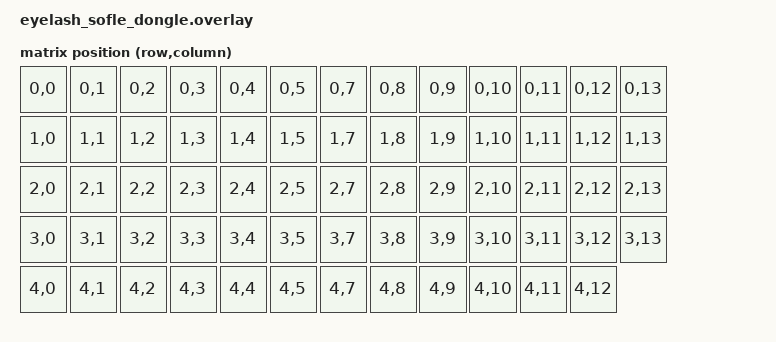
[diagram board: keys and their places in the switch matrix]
/*
 * Eyelash Sofle — USB dongle central, no display.
 * Target board: seeeduino_xiao_ble (Seeed Studio XIAO nRF52840).
 *
 * Deliberately does NOT include eyelash_sofle.dtsi: that file enables SPI0
 * (P0.17/P0.20/P0.25), SPI3 WS2812 (P1.12), PWM backlight (P1.13),
 * ext-power (P0.13) and a VDDH battery node — all nice!nano assumptions.
 * On the XIAO those pins collide with the on-board QSPI flash and the
 * board-level battery divider. The dongle only needs the matrix transform,
 * the physical layout and a mock kscan.
 */

#include <dt-bindings/zmk/matrix_transform.h>
#include "eyelash_sofle-layouts.dtsi"

/ {
    chosen {
        zmk,kscan = &mock_kscan;
        zmk,physical-layout = &eyelash_sofle_layout;
    };

    mock_kscan: kscan_mock {
        compatible = "zmk,kscan-mock";
        columns = <0>;
        rows = <0>;
        events = <0>;
    };

    default_transform: keymap_transform_0 {
        compatible = "zmk,matrix-transform";
        columns = <14>;
        rows = <5>;
        map = <
            RC(0,0) RC(0,1) RC(0,2) RC(0,3) RC(0,4) RC(0,5)  RC(0,7) RC(0,8) RC(0,9) RC(0,10) RC(0,11) RC(0,12) RC(0,13)
            RC(1,0) RC(1,1) RC(1,2) RC(1,3) RC(1,4) RC(1,5)  RC(1,7) RC(1,8) RC(1,9) RC(1,10) RC(1,11) RC(1,12) RC(1,13)
            RC(2,0) RC(2,1) RC(2,2) RC(2,3) RC(2,4) RC(2,5)  RC(2,7) RC(2,8) RC(2,9) RC(2,10) RC(2,11) RC(2,12) RC(2,13)
            RC(3,0) RC(3,1) RC(3,2) RC(3,3) RC(3,4) RC(3,5)  RC(3,7) RC(3,8) RC(3,9) RC(3,10) RC(3,11) RC(3,12) RC(3,13)
            RC(4,0) RC(4,1) RC(4,2) RC(4,3) RC(4,4) RC(4,5)  RC(4,7) RC(4,8) RC(4,9) RC(4,10) RC(4,11) RC(4,12)
        >;
    };
};
